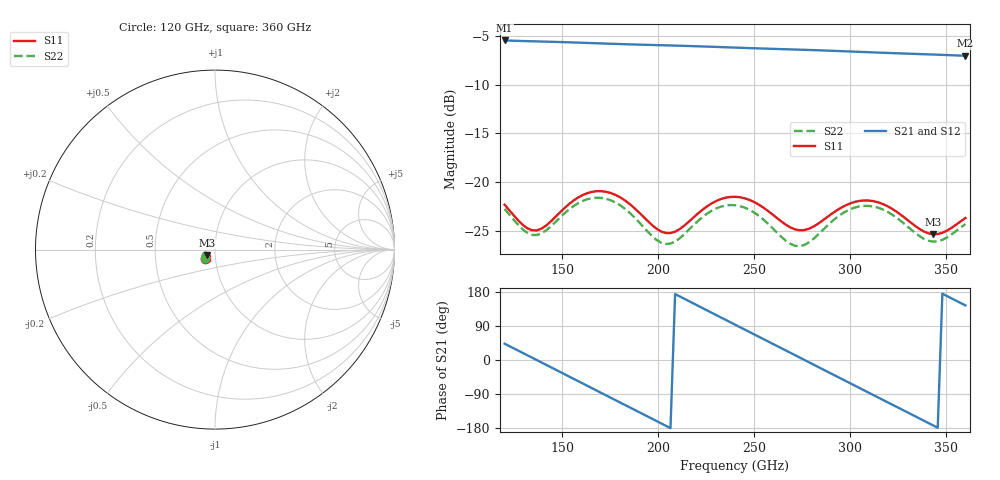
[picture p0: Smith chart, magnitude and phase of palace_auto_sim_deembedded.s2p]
! Created with skrf 1.11.0 (http://scikit-rf.org).
# GHz S DB R 50.0
!freq dBS11 angS11 dBS21 angS21 dBS12 angS12 dBS22 angS22
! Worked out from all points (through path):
!   101 points, 120 GHz to 360 GHz, reference 50 ohm
!   highest |S21| = -5.46 dB at 120 GHz (marker M1); lowest = -7.0 dB at 360 GHz (marker M2)
!   group delay of S21, straight-line fit = 7.17 ps
!   lowest |S11| = -25.3 dB at 343.2 GHz (marker M3), VSWR 1.11, Z = 45.6 - j2.68 ohm
!   |S11| at or under -10 dB: start of sweep to end of sweep
!   |S22| runs from -26.6 to -21.6 dB; largest |S21 - S12| = 8.1e-14
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120  -22.31 -138.8  -5.46 43.0  -5.46 43.0  -22.75 -141.5
129.6  -24.41 -135.4  -5.52 18.3  -5.52 18.3  -24.87 -138.4
139.2  -24.77 -121.9  -5.57 -6.4  -5.57 -6.4  -25.25 -125.4
148.8  -23.11 -116.0  -5.62 -31.2  -5.62 -31.2  -23.64 -120.0
160.8  -21.31 -123.5  -5.70 -62.2  -5.70 -62.2  -21.91 -128.2
170.4  -20.92 -134.1  -5.77 -87.0  -5.77 -87.0  -21.62 -139.4
180  -21.53 -144.3  -5.83 -111.8  -5.83 -111.8  -22.35 -150.0
192  -23.49 -150.1  -5.90 -142.7  -5.90 -142.7  -24.53 -155.7
201.6  -25.07 -143.3  -5.95 -167.4  -5.95 -167.4  -26.22 -147.4
218.4  -23.62 -127.0  -6.04 149.2  -6.04 149.2  -24.41 -130.7
230.4  -21.91 -132.3  -6.12 118.1  -6.12 118.1  -22.67 -137.6
240  -21.50 -141.1  -6.19 93.4  -6.19 93.4  -22.36 -147.5
249.6  -22.00 -149.5  -6.26 68.6  -6.26 68.6  -23.07 -156.6
261.6  -23.64 -153.6  -6.33 37.7  -6.33 37.7  -25.12 -160.1
271.2  -24.84 -147.4  -6.39 12.9  -6.39 12.9  -26.52 -150.6
280.8  -24.56 -137.5  -6.45 -11.8  -6.45 -11.8  -25.83 -137.7
302.4  -22.02 -140.8  -6.61 -67.6  -6.61 -67.6  -22.60 -143.6
312  -21.94 -148.7  -6.68 -92.3  -6.68 -92.3  -22.50 -152.9
321.6  -22.70 -155.4  -6.76 -117.0  -6.76 -117.0  -23.30 -160.5
333.6  -24.45 -156.0  -6.84 -147.9  -6.84 -147.9  -25.16 -161.6
343.2  -25.34 -147.2  -6.91 -172.6  -6.91 -172.6  -26.10 -152.5
360  -23.68 -136.0  -7.03 144.1  -7.03 144.1  -24.30 -141.6
